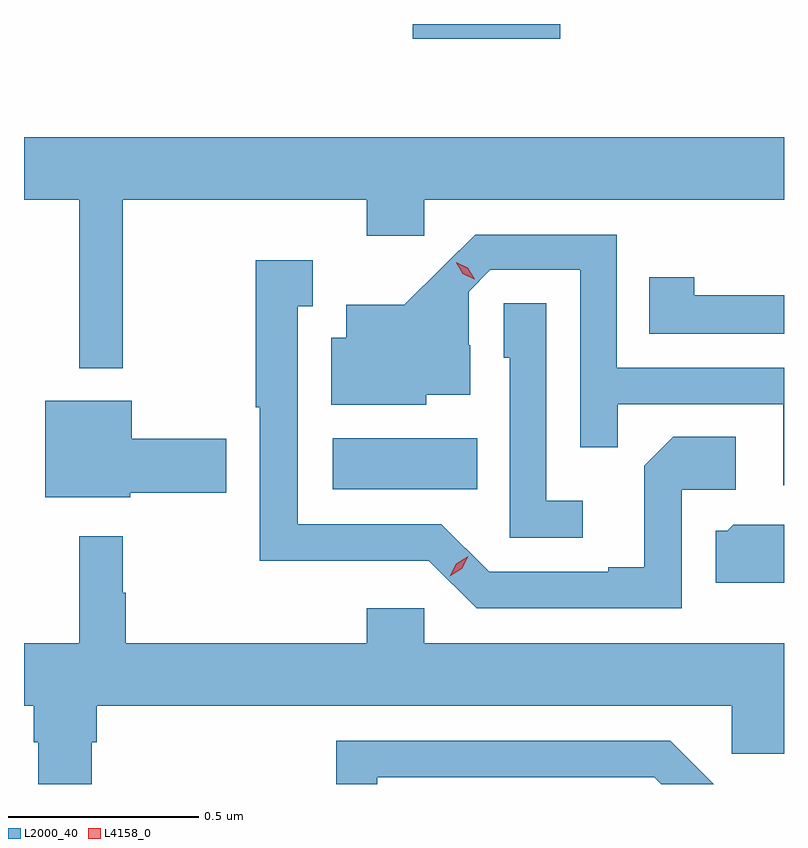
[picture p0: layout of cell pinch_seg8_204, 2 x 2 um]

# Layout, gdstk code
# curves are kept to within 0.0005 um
import gdstk
lib = gdstk.Library(unit=1e-6, precision=1e-09)
def R(c, l, rs):  # rectangles x0, y0, x1, y1
    for r in rs: c.add(gdstk.rectangle(r[:2], r[2:], *l))
def P(c, l, *ps):  # polygons
    for p in ps: c.add(gdstk.Polygon(p, *l))
L2000_40 = (2000, 40)
L4158_0 = (4158, 0)

pinch_seg8_204 = lib.new_cell('pinch_seg8_204')
R(pinch_seg8_204, L2000_40, [(625.776,1150.37,626.156,1150.504), (625.986,1151.555,626.374,1151.594)])
P(pinch_seg8_204, L2000_40, [(625.223,1151.132),(625.865,1151.132),(625.865,1151.037),(626.016,1151.037),(626.016,1151.132),(626.963,1151.132),(626.963,1151.296),(624.963,1151.296),(624.963,1151.132),(625.109,1151.132),(625.109,1150.688),(625.223,1150.688)],
  [(626.963,1150.689),(626.523,1150.689),(626.523,1151.04),(626.15,1151.04),(625.963,1150.855),(625.811,1150.855),(625.811,1150.768),(625.772,1150.768),(625.772,1150.592),(626.022,1150.592),(626.022,1150.619),(626.137,1150.619),(626.137,1150.748),(626.133,1150.748),(626.133,1150.89),(626.19,1150.947),(626.427,1150.947),(626.427,1150.48),(626.525,1150.48),(626.525,1150.593),(626.961,1150.593),(626.961,1150.38),(626.963,1150.38)],
  [(626.694,1150.368),(626.836,1150.368),(626.836,1150.508),(626.671,1150.508),(626.595,1150.432),(626.595,1150.165),(626.501,1150.165),(626.501,1150.152),(626.187,1150.152),(626.061,1150.278),(625.684,1150.278),(625.684,1150.851),(625.723,1150.851),(625.723,1150.972),(625.573,1150.972),(625.573,1150.585),(625.583,1150.585),(625.583,1150.181),(625.806,1150.181),(625.806,1150.182),(626.028,1150.182),(626.154,1150.056),(626.694,1150.056)],
  [(626.963,1150.88),(626.727,1150.88),(626.727,1150.927),(626.608,1150.927),(626.608,1150.779),(626.963,1150.779)],
  [(626.434,1150.339),(626.337,1150.339),(626.337,1150.859),(626.226,1150.859),(626.226,1150.716),(626.241,1150.716),(626.241,1150.242),(626.434,1150.242)],
  [(625.242,1150.36),(625.495,1150.36),(625.495,1150.502),(625.246,1150.502),(625.246,1150.603),(625.019,1150.603),(625.019,1150.349),(625.242,1150.349)],
  [(626.963,1150.276),(626.83,1150.276),(626.814,1150.26),(626.783,1150.26),(626.783,1150.124),(626.963,1150.124)],
  [(625.141,1149.704),(625.154,1149.704),(625.154,1149.8),(626.826,1149.8),(626.826,1149.673),(626.963,1149.673),(626.963,1149.964),(626.016,1149.964),(626.016,1150.057),(625.865,1150.057),(625.865,1149.964),(625.231,1149.964),(625.231,1150.097),(625.223,1150.097),(625.223,1150.246),(625.109,1150.246),(625.109,1149.964),(624.963,1149.964),(624.963,1149.8),(624.989,1149.8),(624.989,1149.704),(625.001,1149.704),(625.001,1149.594),(625.141,1149.594)],
  [(625.893,1149.612),(626.622,1149.612),(626.64,1149.594),(626.778,1149.594),(626.664,1149.708),(625.785,1149.708),(625.785,1149.594),(625.893,1149.594)])
P(pinch_seg8_204, L4158_0, [(626.148,1150.922),(626.118,1150.937),(626.1,1150.966),(626.1,1150.967),(626.1,1150.967),(626.131,1150.952),(626.149,1150.922),(626.149,1150.922)],
  [(626.083,1150.141),(626.083,1150.141),(626.1,1150.174),(626.132,1150.194),(626.132,1150.194),(626.132,1150.194),(626.115,1150.161),(626.084,1150.141)])

lib.write_gds('pinch_seg8_204.gds')
